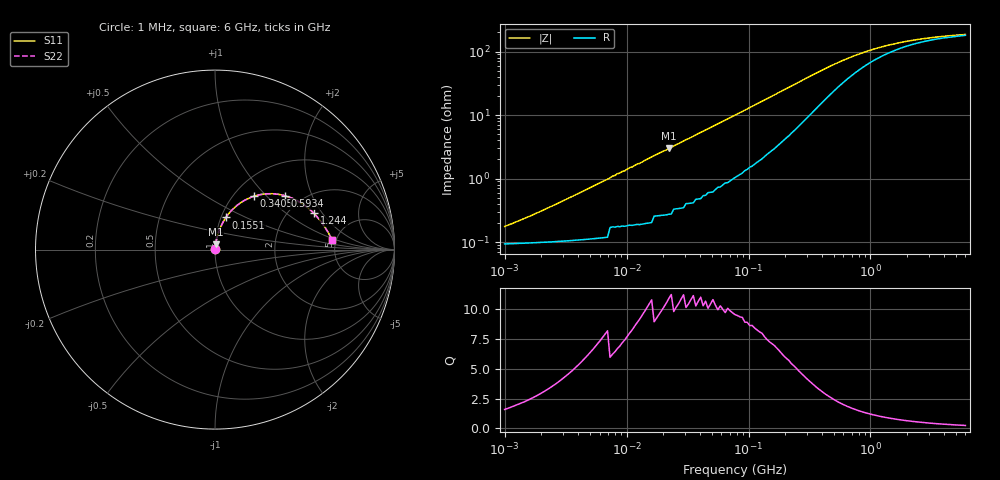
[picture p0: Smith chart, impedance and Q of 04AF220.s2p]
# MHz S MA R 50
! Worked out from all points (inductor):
!   189 points, 1 MHz to 6 GHz, reference 50 ohm
!   read as one part in series: L = 23 nH near 2.097 MHz
!   highest Q = 10.9 at 22.21 MHz (marker M1), where L = 21.4 nH
!   S11 on the Smith chart (normalised r, x): 1 MHz: 1.00, +0.00; 155.1 MHz: 1.05, +0.39; 340.5 MHz: 1.23, +0.84; 593.4 MHz: 1.64, +1.30; 1.244 GHz: 2.70, +1.67; 6 GHz: 4.61, +0.90
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1  0.001723 59.8  0.999 -0.1  0.999 -0.1  0.001723 59.8
1.825  0.002831 70.1  0.999 -0.2  0.999 -0.2  0.002831 70.1
4.396  0.00634 78.8  0.999 -0.4  0.999 -0.4  0.00634 78.8
7.314  0.01 81.3  0.998 -0.6  0.998 -0.6  0.01 81.3
7.66  0.011 81.5  0.998 -0.6  0.998 -0.6  0.011 81.5
8.023  0.011 81.6  0.998 -0.6  0.998 -0.6  0.011 81.6
8.403  0.012 81.7  0.998 -0.7  0.998 -0.7  0.012 81.7
9.655  0.013 82.1  0.998 -0.8  0.998 -0.8  0.013 82.1
10.591  0.015 82.3  0.998 -0.8  0.998 -0.8  0.015 82.3
12.744  0.017 82.6  0.998 -1.0  0.998 -1.0  0.017 82.6
18.454  0.025 82.8  0.997 -1.4  0.997 -1.4  0.025 82.8
22.206  0.03 82.8  0.997 -1.7  0.997 -1.7  0.03 82.8
77.46  0.098 78.4  0.985 -5.6  0.985 -5.6  0.098 78.4
155.069  0.189 71.2  0.956 -10.8  0.956 -10.8  0.189 71.2
224.541  0.263 64.6  0.918 -15.0  0.918 -15.0  0.263 64.6
340.538  0.366 54.1  0.84 -20.7  0.84 -20.7  0.366 54.1
593.368  0.492 37.5  0.679 -26.2  0.679 -26.2  0.492 37.5
899.897  0.555 26.7  0.562 -26.3  0.562 -26.3  0.555 26.7
1244.138  0.587 20.2  0.493 -24.2  0.493 -24.2  0.587 20.2
1429.415  0.597 17.9  0.469 -23.0  0.469 -23.0  0.597 17.9
2861.584  0.633 9.6  0.39 -15.7  0.39 -15.7  0.633 9.6
6000  0.655 4.9  0.352 -9.1  0.352 -9.1  0.655 4.9
